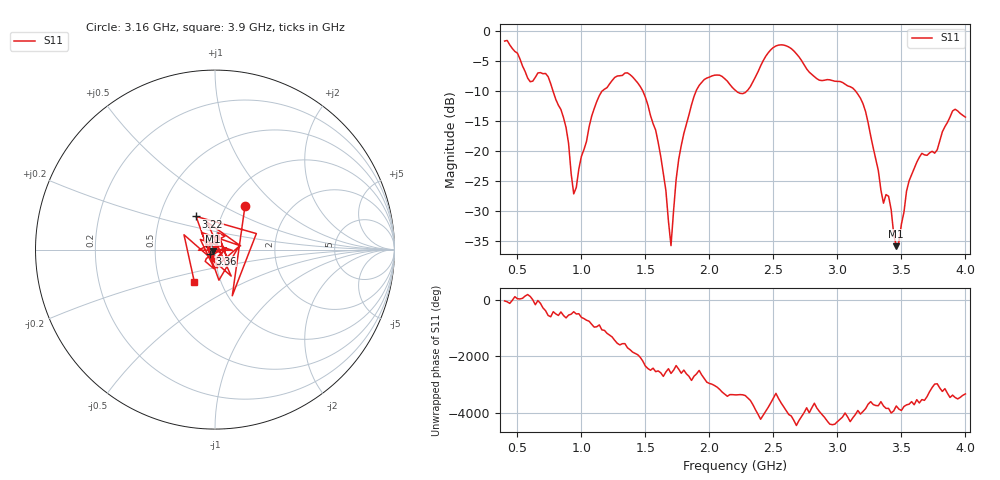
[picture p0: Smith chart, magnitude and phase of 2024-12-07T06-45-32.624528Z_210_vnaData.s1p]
!Created with skrf (http://scikit-rf.org).
# Hz S RI R 50.0
!freq ReS11 ImS11
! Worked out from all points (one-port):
!   181 points, 400 MHz to 4 GHz, reference 50 ohm
!   lowest |S11| = -35.8 dB at 3.46 GHz (marker M1), VSWR 1.03, Z = 48.7 - j0.923 ohm
!   |S11| at or under -10 dB: 777.6 MHz to 1.164 GHz (386.6 MHz wide, 39.8 % of centre); 1.479 GHz to 1.897 GHz (417.8 MHz wide, 24.7 % of centre); 3.141 GHz to end of sweep (the widest 3 of 4)
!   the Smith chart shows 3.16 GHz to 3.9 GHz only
!   S11 on the Smith chart (normalised r, x): 3.16 GHz: 1.21, +0.65; 3.22 GHz: 0.76, +0.29; 3.36 GHz: 0.94, -0.04; 3.9 GHz: 0.75, -0.29
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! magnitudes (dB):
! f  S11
! 400 MHz  -1.7
! 600 MHz  -8.5
! 740 MHz  -7.6
! 860 MHz  -14.4
! 940 MHz  -27.1
! 1.12 GHz  -11.8
! 1.3 GHz  -7.5
! 1.46 GHz  -9.3
! 1.58 GHz  -16.5
! 1.66 GHz  -26.6
! 1.7 GHz  -35.7
! 1.76 GHz  -21.4
! 1.92 GHz  -9.1
! 2.2 GHz  -9.9
! 2.3 GHz  -9.9
! 2.5 GHz  -2.8
! 2.66 GHz  -3.4
! 3.1 GHz  -9.3
! 3.16 GHz  -10.6
! 3.22 GHz  -13.4
! 3.36 GHz  -28.7
! 3.4 GHz  -27.5
! 3.46 GHz  -35.8
! 3.56 GHz  -25.0
! 3.66 GHz  -20.4
! 3.78 GHz  -19.8
! 3.9 GHz  -13.3
! 4 GHz  -14.4
